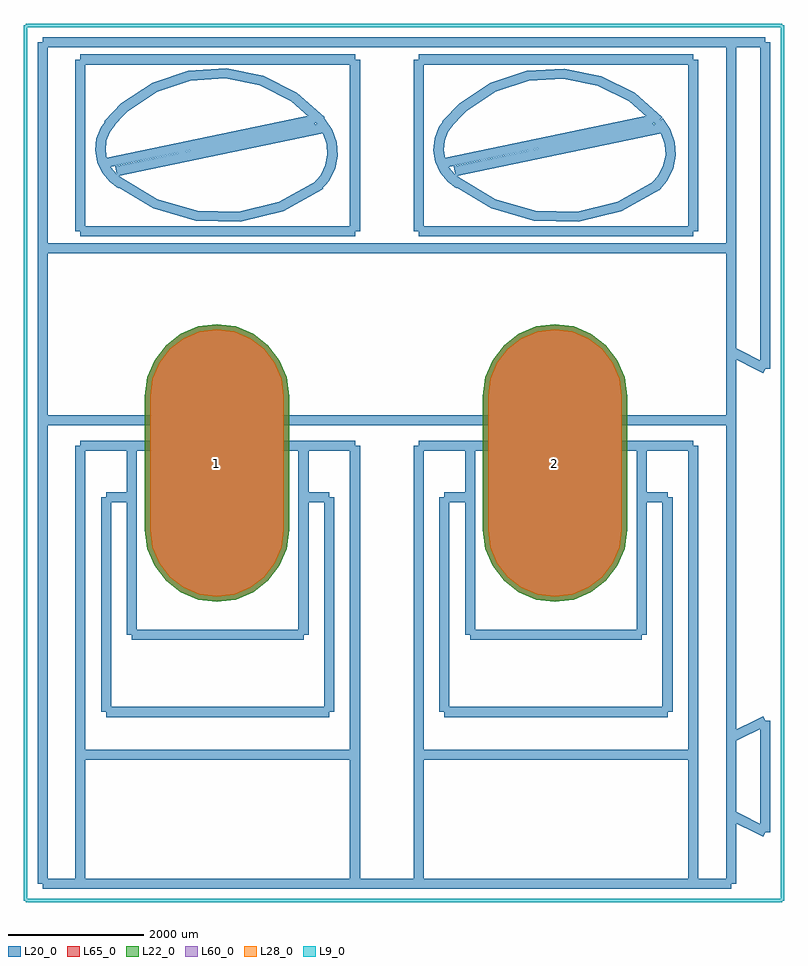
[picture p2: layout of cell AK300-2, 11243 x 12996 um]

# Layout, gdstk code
import gdstk
lib = gdstk.Library(unit=1e-6, precision=1e-09)
def P(c, l, *ps):  # polygons
    for p in ps: c.add(gdstk.Polygon(p, *l))
L9_0 = (9, 0)
L20_0 = (20, 0)
L22_0 = (22, 0)
L28_0 = (28, 0)
L60_0 = (60, 0)
L65_0 = (65, 0)

ak300_2 = lib.new_cell('AK300-2')
P(ak300_2, L22_0, [(5000,-2056.2),(5275.798,-2019.891),(5532.8,-1913.437),(5753.493,-1744.093),(5922.837,-1523.4),(6029.291,-1266.398),(6065.6,-990.6),(6065.6,990.6),(6029.291,1266.398),(5922.837,1523.4),(5753.493,1744.093),(5532.8,1913.437),(5275.798,2019.891),(5000,2056.2),(4724.202,2019.891),(4467.2,1913.437),(4246.507,1744.093),(4077.163,1523.4),(3970.709,1266.398),(3934.4,990.6),(3934.4,-990.6),(3970.709,-1266.398),(4077.163,-1523.4),(4246.507,-1744.093),(4467.2,-1913.437),(4724.202,-2019.891)],
  [(0,-2056.2),(275.798,-2019.891),(532.8,-1913.437),(753.493,-1744.093),(922.837,-1523.4),(1029.291,-1266.398),(1065.6,-990.6),(1065.6,990.6),(1029.291,1266.398),(922.837,1523.4),(753.493,1744.093),(532.8,1913.437),(275.798,2019.891),(0,2056.2),(-275.798,2019.891),(-532.8,1913.437),(-753.493,1744.093),(-922.837,1523.4),(-1029.291,1266.398),(-1065.6,990.6),(-1065.6,-990.6),(-1029.291,-1266.398),(-922.837,-1523.4),(-753.493,-1744.093),(-532.8,-1913.437),(-275.798,-2019.891)])
P(ak300_2, L28_0, [(5000,-1981.2),(5256.386,-1947.446),(5495.3,-1848.485),(5700.46,-1691.06),(5857.885,-1485.9),(5956.846,-1246.986),(5990.6,-990.6),(5990.6,990.6),(5956.846,1246.986),(5857.885,1485.9),(5700.46,1691.06),(5495.3,1848.485),(5256.386,1947.446),(5000,1981.2),(4743.614,1947.446),(4504.7,1848.485),(4299.54,1691.06),(4142.115,1485.9),(4043.154,1246.986),(4009.4,990.6),(4009.4,-990.6),(4043.154,-1246.986),(4142.115,-1485.9),(4299.54,-1691.06),(4504.7,-1848.485),(4743.614,-1947.446)],
  [(0,-1981.2),(256.386,-1947.446),(495.3,-1848.485),(700.46,-1691.06),(857.885,-1485.9),(956.846,-1246.986),(990.6,-990.6),(990.6,990.6),(956.846,1246.986),(857.885,1485.9),(700.46,1691.06),(495.3,1848.485),(256.386,1947.446),(0,1981.2),(-256.386,1947.446),(-495.3,1848.485),(-700.46,1691.06),(-857.885,1485.9),(-956.846,1246.986),(-990.6,990.6),(-990.6,-990.6),(-956.846,-1246.986),(-857.885,-1485.9),(-700.46,-1691.06),(-495.3,-1848.485),(-256.386,-1947.446)])
P(ak300_2, L60_0, [(5000,-1981.2),(5256.386,-1947.446),(5495.3,-1848.485),(5700.46,-1691.06),(5857.885,-1485.9),(5956.846,-1246.986),(5990.6,-990.6),(5990.6,990.6),(5956.846,1246.986),(5857.885,1485.9),(5700.46,1691.06),(5495.3,1848.485),(5256.386,1947.446),(5000,1981.2),(4743.614,1947.446),(4504.7,1848.485),(4299.54,1691.06),(4142.115,1485.9),(4043.154,1246.986),(4009.4,990.6),(4009.4,-990.6),(4043.154,-1246.986),(4142.115,-1485.9),(4299.54,-1691.06),(4504.7,-1848.485),(4743.614,-1947.446)],
  [(0,-1981.2),(256.386,-1947.446),(495.3,-1848.485),(700.46,-1691.06),(857.885,-1485.9),(956.846,-1246.986),(990.6,-990.6),(990.6,990.6),(956.846,1246.986),(857.885,1485.9),(700.46,1691.06),(495.3,1848.485),(256.386,1947.446),(0,1981.2),(-256.386,1947.446),(-495.3,1848.485),(-700.46,1691.06),(-857.885,1485.9),(-956.846,1246.986),(-990.6,990.6),(-990.6,-990.6),(-956.846,-1246.986),(-857.885,-1485.9),(-700.46,-1691.06),(-495.3,-1848.485),(-256.386,-1947.446)])
P(ak300_2, L65_0, [(5000,-2056.2),(5275.798,-2019.891),(5532.8,-1913.437),(5753.493,-1744.093),(5922.837,-1523.4),(6029.291,-1266.398),(6065.6,-990.6),(6065.6,990.6),(6029.291,1266.398),(5922.837,1523.4),(5753.493,1744.093),(5532.8,1913.437),(5275.798,2019.891),(5000,2056.2),(4724.202,2019.891),(4467.2,1913.437),(4246.507,1744.093),(4077.163,1523.4),(3970.709,1266.398),(3934.4,990.6),(3934.4,-990.6),(3970.709,-1266.398),(4077.163,-1523.4),(4246.507,-1744.093),(4467.2,-1913.437),(4724.202,-2019.891)],
  [(0,-2056.2),(275.798,-2019.891),(532.8,-1913.437),(753.493,-1744.093),(922.837,-1523.4),(1029.291,-1266.398),(1065.6,-990.6),(1065.6,990.6),(1029.291,1266.398),(922.837,1523.4),(753.493,1744.093),(532.8,1913.437),(275.798,2019.891),(0,2056.2),(-275.798,2019.891),(-532.8,1913.437),(-753.493,1744.093),(-922.837,1523.4),(-1029.291,1266.398),(-1065.6,990.6),(-1065.6,-990.6),(-1029.291,-1266.398),(-922.837,-1523.4),(-753.493,-1744.093),(-532.8,-1913.437),(-275.798,-2019.891)])
ak300_2.add(gdstk.FlexPath([(-1564.519,5051.018),(-1654.716,4925.417),(-1709.332,4780.751),(-1724.645,4626.879),(-1699.61,4474.286),(-1635.935,4333.372),(-1537.959,4213.74),(-1419.62,4127.5)], 149.998, ends="flush", simple_path=True, layer=20, datatype=0))  # L20_0
ak300_2.add(gdstk.FlexPath([(1541.572,5061.846),(1138.322,5417.942),(656.648,5657.535),(129.376,5764.298),(-407.563,5730.955),(-917.576,5559.778),(-1365.907,5262.433),(-1615.2,5003.8)], 149.998, ends="flush", simple_path=True, layer=20, datatype=0))  # L20_0
ak300_2.add(gdstk.FlexPath([(-1460.988,4165.105),(-915.856,3835.404),(-303.966,3658.029),(332.983,3645.066),(951.583,3797.399),(1509.679,4104.647),(1526.78,4117.34)], 149.998, ends="flush", simple_path=True, layer=20, datatype=0))  # L20_0
ak300_2.add(gdstk.FlexPath([(1479.149,4082.89),(1596.23,4217.515),(1674.477,4377.855),(1708.56,4552.984),(1696.154,4730.967),(1638.106,4899.675),(1538.37,5047.609),(1534.4,5052.06)], 149.998, ends="flush", simple_path=True, layer=20, datatype=0))  # L20_0
ak300_2.add(gdstk.FlexPath([(3439.904,5053.481),(3349.048,4927.957),(3293.776,4783.195),(3277.854,4629.061),(3302.368,4476.057),(3365.647,4334.612),(3463.379,4214.364),(3581.64,4127.5)], 149.998, ends="flush", simple_path=True, layer=20, datatype=0))  # L20_0
ak300_2.add(gdstk.FlexPath([(6539.41,5056.844),(6137.485,5412.882),(5657.105,5652.762),(5131.009,5760.137),(4595.048,5727.69),(4085.748,5557.631),(3637.816,5261.55),(3388.6,5003.8)], 149.998, ends="flush", simple_path=True, layer=20, datatype=0))  # L20_0
ak300_2.add(gdstk.FlexPath([(3540.272,4165.105),(4085.404,3835.404),(4697.294,3658.029),(5334.243,3645.066),(5952.843,3797.399),(6510.939,4104.647),(6528.04,4117.34)], 149.998, ends="flush", simple_path=True, layer=20, datatype=0))  # L20_0
ak300_2.add(gdstk.FlexPath([(6482.971,4085.43),(6599.394,4219.974),(6677.026,4380.066),(6710.579,4554.796),(6697.765,4732.256),(6639.458,4900.353),(6539.631,5047.632),(6535.66,5052.06)], 149.998, ends="flush", simple_path=True, layer=20, datatype=0))  # L20_0
ak300_2.add(gdstk.FlexPath([(3363.2,254),(6665.2,254)], 149.998, ends="flush", simple_path=True, layer=20, datatype=0))  # L20_0
ak300_2.add(gdstk.FlexPath([(2982.2,254),(3363.2,254)], 149.998, ends="flush", simple_path=True, layer=20, datatype=0))  # L20_0
ak300_2.add(gdstk.FlexPath([(7046.2,254),(6665.2,254)], 149.998, ends="flush", simple_path=True, layer=20, datatype=0))  # L20_0
ak300_2.add(gdstk.FlexPath([(6665.2,635),(3363.2,635)], 149.998, ends="flush", simple_path=True, layer=20, datatype=0))  # L20_0
ak300_2.add(gdstk.FlexPath([(7605,635),(6665.2,635)], 149.998, ends="flush", simple_path=True, layer=20, datatype=0))  # L20_0
ak300_2.add(gdstk.FlexPath([(1661.4,635),(3363.2,635)], 149.998, ends="flush", simple_path=True, layer=20, datatype=0))  # L20_0
ak300_2.add(gdstk.FlexPath([(-1640.6,635),(1661.4,635)], 149.998, ends="flush", simple_path=True, layer=20, datatype=0))  # L20_0
ak300_2.add(gdstk.FlexPath([(-2580,635),(-1640.6,635)], 149.998, ends="flush", simple_path=True, layer=20, datatype=0))  # L20_0
ak300_2.add(gdstk.FlexPath([(1661.4,254),(-1640.6,254)], 149.998, ends="flush", simple_path=True, layer=20, datatype=0))  # L20_0
ak300_2.add(gdstk.FlexPath([(2042.4,254),(1661.4,254)], 149.998, ends="flush", simple_path=True, layer=20, datatype=0))  # L20_0
ak300_2.add(gdstk.FlexPath([(-2021.6,254),(-1640.6,254)], 149.998, ends="flush", simple_path=True, layer=20, datatype=0))  # L20_0
ak300_2.add(gdstk.FlexPath([(-1488.2,4318),(1559.8,4953)], 149.998, ends="flush", simple_path=True, layer=20, datatype=0))  # L20_0
ak300_2.add(gdstk.FlexPath([(-1615.2,4445),(1435.34,5080)], 149.998, ends="flush", simple_path=True, layer=20, datatype=0))  # L20_0
ak300_2.add(gdstk.FlexPath([(3515.6,4318),(6563.6,4953)], 149.998, ends="flush", simple_path=True, layer=20, datatype=0))  # L20_0
ak300_2.add(gdstk.FlexPath([(3388.6,4445),(6436.6,5080)], 149.998, ends="flush", simple_path=True, layer=20, datatype=0))  # L20_0
ak300_2.add(gdstk.FlexPath([(2042.4,5969),(-2021.6,5969)], 149.998, ends="flush", simple_path=True, layer=20, datatype=0))  # L20_0
ak300_2.add(gdstk.FlexPath([(-2021.6,3429),(-2021.6,5969)], 149.998, ends="flush", simple_path=True, layer=20, datatype=0))  # L20_0
ak300_2.add(gdstk.FlexPath([(2042.4,3429),(-2021.6,3429)], 149.998, ends="flush", simple_path=True, layer=20, datatype=0))  # L20_0
ak300_2.add(gdstk.FlexPath([(2042.4,3429),(2042.4,5969)], 149.998, ends="flush", simple_path=True, layer=20, datatype=0))  # L20_0
ak300_2.add(gdstk.FlexPath([(7046.2,3429),(2982.2,3429)], 149.998, ends="flush", simple_path=True, layer=20, datatype=0))  # L20_0
ak300_2.add(gdstk.FlexPath([(7046.2,5969),(7046.2,3429)], 149.998, ends="flush", simple_path=True, layer=20, datatype=0))  # L20_0
ak300_2.add(gdstk.FlexPath([(2982.2,5969),(7046.2,5969)], 149.998, ends="flush", simple_path=True, layer=20, datatype=0))  # L20_0
ak300_2.add(gdstk.FlexPath([(2982.2,3429),(2982.2,5969)], 149.998, ends="flush", simple_path=True, layer=20, datatype=0))  # L20_0
ak300_2.add(gdstk.FlexPath([(7605,3175),(7605,1651)], 149.998, ends="flush", simple_path=True, layer=20, datatype=0))  # L20_0
ak300_2.add(gdstk.FlexPath([(-2580,3175),(-2580,6223)], 149.998, ends="flush", simple_path=True, layer=20, datatype=0))  # L20_0
ak300_2.add(gdstk.FlexPath([(-2580,3175),(7605,3175)], 149.998, ends="flush", simple_path=True, layer=20, datatype=0))  # L20_0
ak300_2.add(gdstk.FlexPath([(7605,635),(7605,-4064)], 149.998, ends="flush", simple_path=True, layer=20, datatype=0))  # L20_0
ak300_2.add(gdstk.FlexPath([(7605,1651),(7605,635)], 149.998, ends="flush", simple_path=True, layer=20, datatype=0))  # L20_0
ak300_2.add(gdstk.FlexPath([(-2580,635),(-2580,3175)], 149.998, ends="flush", simple_path=True, layer=20, datatype=0))  # L20_0
ak300_2.add(gdstk.FlexPath([(-2580,-6223),(-2580,635)], 149.998, ends="flush", simple_path=True, layer=20, datatype=0))  # L20_0
ak300_2.add(gdstk.FlexPath([(6665.2,-508),(6284.2,-508)], 149.998, ends="flush", simple_path=True, layer=20, datatype=0))  # L20_0
ak300_2.add(gdstk.FlexPath([(3363.2,-508),(3744.2,-508)], 149.998, ends="flush", simple_path=True, layer=20, datatype=0))  # L20_0
ak300_2.add(gdstk.FlexPath([(1661.4,-508),(1280.4,-508)], 149.998, ends="flush", simple_path=True, layer=20, datatype=0))  # L20_0
ak300_2.add(gdstk.FlexPath([(-1640.6,-508),(-1259.6,-508)], 149.998, ends="flush", simple_path=True, layer=20, datatype=0))  # L20_0
ak300_2.add(gdstk.FlexPath([(-1640.6,-3683),(-1640.6,-508)], 149.998, ends="flush", simple_path=True, layer=20, datatype=0))  # L20_0
ak300_2.add(gdstk.FlexPath([(1661.4,-3683),(-1640.6,-3683)], 149.998, ends="flush", simple_path=True, layer=20, datatype=0))  # L20_0
ak300_2.add(gdstk.FlexPath([(1661.4,-3683),(1661.4,-508)], 149.998, ends="flush", simple_path=True, layer=20, datatype=0))  # L20_0
ak300_2.add(gdstk.FlexPath([(3363.2,-3683),(3363.2,-508)], 149.998, ends="flush", simple_path=True, layer=20, datatype=0))  # L20_0
ak300_2.add(gdstk.FlexPath([(6665.2,-3683),(3363.2,-3683)], 149.998, ends="flush", simple_path=True, layer=20, datatype=0))  # L20_0
ak300_2.add(gdstk.FlexPath([(6665.2,-3683),(6665.2,-508)], 149.998, ends="flush", simple_path=True, layer=20, datatype=0))  # L20_0
ak300_2.add(gdstk.FlexPath([(-2021.6,-4318),(-2021.6,-6223)], 149.998, ends="flush", simple_path=True, layer=20, datatype=0))  # L20_0
ak300_2.add(gdstk.FlexPath([(2042.4,-4318),(2042.4,254)], 149.998, ends="flush", simple_path=True, layer=20, datatype=0))  # L20_0
ak300_2.add(gdstk.FlexPath([(2042.4,-4318),(-2021.6,-4318)], 149.998, ends="flush", simple_path=True, layer=20, datatype=0))  # L20_0
ak300_2.add(gdstk.FlexPath([(7046.2,-4318),(7046.2,-6223)], 149.998, ends="flush", simple_path=True, layer=20, datatype=0))  # L20_0
ak300_2.add(gdstk.FlexPath([(2982.2,-4318),(2982.2,254)], 149.998, ends="flush", simple_path=True, layer=20, datatype=0))  # L20_0
ak300_2.add(gdstk.FlexPath([(2982.2,-4318),(7046.2,-4318)], 149.998, ends="flush", simple_path=True, layer=20, datatype=0))  # L20_0
ak300_2.add(gdstk.FlexPath([(-2021.6,-6223),(2042.4,-6223)], 149.998, ends="flush", simple_path=True, layer=20, datatype=0))  # L20_0
ak300_2.add(gdstk.FlexPath([(-2580,-6223),(-2021.6,-6223)], 149.998, ends="flush", simple_path=True, layer=20, datatype=0))  # L20_0
ak300_2.add(gdstk.FlexPath([(-2021.6,254),(-2021.6,-4318)], 149.998, ends="flush", simple_path=True, layer=20, datatype=0))  # L20_0
ak300_2.add(gdstk.FlexPath([(2042.4,-6223),(2982.2,-6223)], 149.998, ends="flush", simple_path=True, layer=20, datatype=0))  # L20_0
ak300_2.add(gdstk.FlexPath([(2042.4,-6223),(2042.4,-4318)], 149.998, ends="flush", simple_path=True, layer=20, datatype=0))  # L20_0
ak300_2.add(gdstk.FlexPath([(7046.2,-6223),(7605,-6223)], 149.998, ends="flush", simple_path=True, layer=20, datatype=0))  # L20_0
ak300_2.add(gdstk.FlexPath([(2982.2,-6223),(7046.2,-6223)], 149.998, ends="flush", simple_path=True, layer=20, datatype=0))  # L20_0
ak300_2.add(gdstk.FlexPath([(7046.2,254),(7046.2,-4318)], 149.998, ends="flush", simple_path=True, layer=20, datatype=0))  # L20_0
ak300_2.add(gdstk.FlexPath([(2982.2,-6223),(2982.2,-4318)], 149.998, ends="flush", simple_path=True, layer=20, datatype=0))  # L20_0
ak300_2.add(gdstk.FlexPath([(8113,-3810),(8113,-5461)], 149.998, ends="flush", simple_path=True, layer=20, datatype=0))  # L20_0
ak300_2.add(gdstk.FlexPath([(7605,-4064),(7605,-5207)], 149.998, ends="flush", simple_path=True, layer=20, datatype=0))  # L20_0
ak300_2.add(gdstk.FlexPath([(8113,-3810),(7605,-4064)], 149.998, ends="flush", simple_path=True, layer=20, datatype=0))  # L20_0
ak300_2.add(gdstk.FlexPath([(7605,-5207),(7605,-6223)], 149.998, ends="flush", simple_path=True, layer=20, datatype=0))  # L20_0
ak300_2.add(gdstk.FlexPath([(8113,-5461),(7605,-5207)], 149.998, ends="flush", simple_path=True, layer=20, datatype=0))  # L20_0
ak300_2.add(gdstk.FlexPath([(8113,1397),(7605,1651)], 149.998, ends="flush", simple_path=True, layer=20, datatype=0))  # L20_0
ak300_2.add(gdstk.FlexPath([(8113,6223),(8113,1397)], 149.998, ends="flush", simple_path=True, layer=20, datatype=0))  # L20_0
ak300_2.add(gdstk.FlexPath([(7605,6223),(8113,6223)], 149.998, ends="flush", simple_path=True, layer=20, datatype=0))  # L20_0
ak300_2.add(gdstk.FlexPath([(7605,6223),(-2580,6223)], 149.998, ends="flush", simple_path=True, layer=20, datatype=0))  # L20_0
ak300_2.add(gdstk.FlexPath([(7605,6223),(7605,3175)], 149.998, ends="flush", simple_path=True, layer=20, datatype=0))  # L20_0
ak300_2.add(gdstk.FlexPath([(3744.2,-2540),(3744.2,254)], 149.998, ends="flush", simple_path=True, layer=20, datatype=0))  # L20_0
ak300_2.add(gdstk.FlexPath([(3744.2,254),(6284.2,254)], 149.998, ends="flush", simple_path=True, layer=20, datatype=0))  # L20_0
ak300_2.add(gdstk.FlexPath([(6284.2,-2540),(6284.2,254)], 149.998, ends="flush", simple_path=True, layer=20, datatype=0))  # L20_0
ak300_2.add(gdstk.FlexPath([(3744.2,-2540),(6284.2,-2540)], 149.998, ends="flush", simple_path=True, layer=20, datatype=0))  # L20_0
ak300_2.add(gdstk.FlexPath([(-1259.6,-2540),(-1259.6,254)], 149.998, ends="flush", simple_path=True, layer=20, datatype=0))  # L20_0
ak300_2.add(gdstk.FlexPath([(-1259.6,254),(1280.4,254)], 149.998, ends="flush", simple_path=True, layer=20, datatype=0))  # L20_0
ak300_2.add(gdstk.FlexPath([(1280.4,-2540),(1280.4,254)], 149.998, ends="flush", simple_path=True, layer=20, datatype=0))  # L20_0
ak300_2.add(gdstk.FlexPath([(-1259.6,-2540),(1280.4,-2540)], 149.998, ends="flush", simple_path=True, layer=20, datatype=0))  # L20_0
ak300_2.add(gdstk.FlexPath([(-2830,6473),(-2830,-6473)], 50, ends="flush", simple_path=True, layer=9, datatype=0))  # L9_0
ak300_2.add(gdstk.FlexPath([(-2830,-6473),(8363,-6473)], 50, ends="flush", simple_path=True, layer=9, datatype=0))  # L9_0
ak300_2.add(gdstk.FlexPath([(8363,-6473),(8363,6473)], 50, ends="flush", simple_path=True, layer=9, datatype=0))  # L9_0
ak300_2.add(gdstk.FlexPath([(8363,6473),(-2830,6473)], 50, ends="flush", simple_path=True, layer=9, datatype=0))  # L9_0
ak300_2.add(gdstk.Label('2', (5000,0), layer=28, texttype=0))
ak300_2.add(gdstk.Label('1', (0,0), layer=28, texttype=0))
ak300_2.add(gdstk.Label('type', (2779,-7747), layer=9, texttype=0))
ak300_2.add(gdstk.Label('devicename', (-1920,6985), layer=9, texttype=0))

lib.write_gds('AK300-2.gds')
